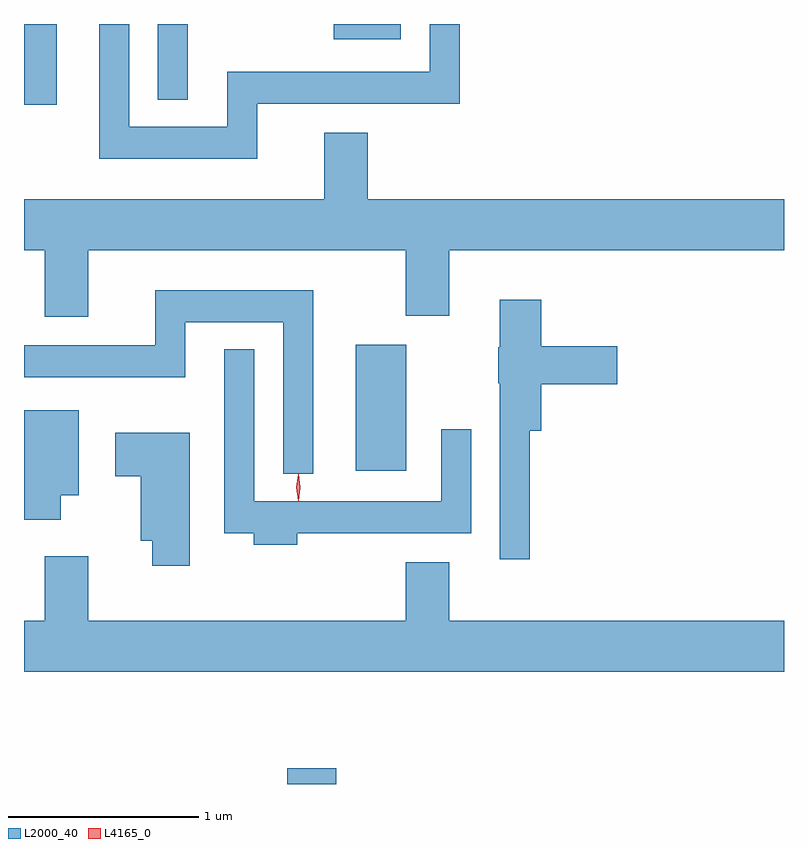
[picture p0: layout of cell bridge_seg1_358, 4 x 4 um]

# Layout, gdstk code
import gdstk
lib = gdstk.Library(unit=1e-6, precision=1e-09)
def R(c, l, rs):  # rectangles x0, y0, x1, y1
    for r in rs: c.add(gdstk.rectangle(r[:2], r[2:], *l))
def P(c, l, *ps):  # polygons
    for p in ps: c.add(gdstk.Polygon(p, *l))
L2000_40 = (2000, 40)
L4165_0 = (4165, 0)

bridge_seg1_358 = lib.new_cell('bridge_seg1_358')
R(bridge_seg1_358, L2000_40, [(937.506,872.346,937.764,872.429), (937.866,873.996,938.134,874.659), (936.121,875.921,936.294,876.346), (936.826,875.948,936.984,876.346), (937.751,876.266,938.104,876.346)])
P(bridge_seg1_358, L2000_40, [(937.349,875.926),(938.414,875.926),(938.414,876.346),(938.256,876.346),(938.256,876.094),(937.191,876.094),(937.191,875.804),(936.674,875.804),(936.674,876.346),(936.516,876.346),(936.516,875.636),(937.349,875.636)],
  [(936.459,875.156),(938.131,875.156),(938.131,874.811),(938.359,874.811),(938.359,875.156),(940.121,875.156),(940.121,875.424),(937.929,875.424),(937.929,875.774),(937.701,875.774),(937.701,875.424),(936.121,875.424),(936.121,875.156),(936.231,875.156),(936.231,874.806),(936.459,874.806)],
  [(937.644,874.944),(936.811,874.944),(936.811,874.654),(936.121,874.654),(936.121,874.486),(936.969,874.486),(936.969,874.776),(937.486,874.776),(937.486,873.978),(937.644,873.978)],
  [(938.784,874.206),(938.844,874.206),(938.844,874.451),(939.244,874.451),(939.244,874.649),(938.844,874.649),(938.844,874.894),(938.626,874.894),(938.626,874.645),(938.616,874.645),(938.616,874.455),(938.626,874.455),(938.626,873.528),(938.784,873.528)],
  [(937.559,873.666),(938.474,873.666),(938.474,874.213),(938.316,874.213),(938.316,873.834),(937.334,873.834),(937.334,874.633),(937.176,874.633),(937.176,873.666),(937.331,873.666),(937.331,873.606),(937.559,873.606)],
  [(936.314,873.866),(936.409,873.866),(936.409,874.314),(936.121,874.314),(936.121,873.736),(936.314,873.736)],
  [(936.994,874.194),(936.601,874.194),(936.601,873.966),(936.736,873.966),(936.736,873.626),(936.796,873.626),(936.796,873.496),(936.994,873.496)],
  [(940.121,873.204),(938.359,873.204),(938.359,873.514),(938.131,873.514),(938.131,873.204),(936.459,873.204),(936.459,873.544),(936.231,873.544),(936.231,873.204),(936.121,873.204),(936.121,872.936),(940.121,872.936)])
P(bridge_seg1_358, L4165_0, [(937.565,873.837),(937.565,873.837),(937.555,873.907),(937.565,873.976),(937.565,873.976),(937.566,873.976),(937.575,873.907),(937.566,873.837)],
  [(937.566,873.84),(937.566,873.84),(937.556,873.906),(937.566,873.972),(937.566,873.973),(937.567,873.972),(937.576,873.906),(937.567,873.84)])

lib.write_gds('bridge_seg1_358.gds')
